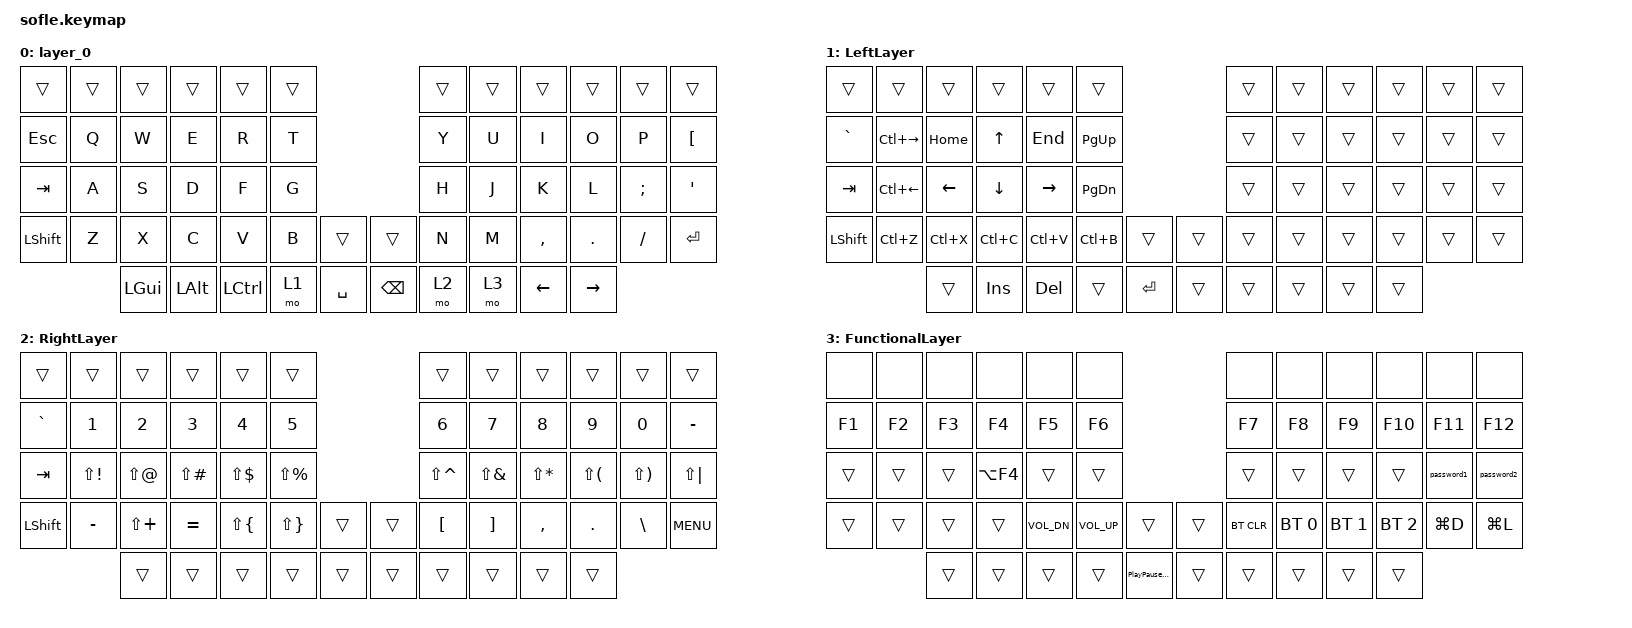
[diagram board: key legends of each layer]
/*
 * Copyright (c) 2020 The ZMK Contributors
 *
 * SPDX-License-Identifier: MIT
 */

#include <behaviors.dtsi>
#include <dt-bindings/zmk/bt.h>
#include <dt-bindings/zmk/keys.h>
#include <dt-bindings/zmk/keys.h>

/ {
    macros {
        password1: password1 {
            compatible = "zmk,behavior-macro";
            #binding-cells = <0>;
            bindings = <&none &kp LS(E) &kp X &kp I &kp L &kp E &kp N1 &kp N2 &kp N3>;
            label = "PASSWORD1";
        };

        password2: password2 {
            compatible = "zmk,behavior-macro";
            #binding-cells = <0>;
            bindings = <&none &kp LS(E) &kp X &kp I &kp L &kp E &kp N1 &kp N2 &kp N3 &kp N4>;
            label = "PASSWORD2";
        };

        PlayPauseYandex: PlayPauseYandex {
            compatible = "zmk,behavior-macro";
            #binding-cells = <0>;
            bindings = <&kt LCTRL &kt LEFT_SHIFT &kp SPACE &kt LEFT_CONTROL &kt LEFT_SHIFT>;
            label = "PLAYPAUSEYANDEX";
        };
    };

    keymap {
        compatible = "zmk,keymap";

        layer_0 {
            bindings = <
&trans     &trans  &trans    &trans    &trans            &trans                         &trans  &trans  &trans     &trans     &trans    &trans
&kp ESC    &kp Q   &kp W     &kp E     &kp R             &kp T                          &kp Y   &kp U   &kp I      &kp O      &kp P     &kp LBKT
&kp TAB    &kp A   &kp S     &kp D     &kp F             &kp G                          &kp H   &kp J   &kp K      &kp L      &kp SEMI  &kp SQT
&kp LSHFT  &kp Z   &kp X     &kp C     &kp V             &kp B   &trans       &trans    &kp N   &kp M   &kp COMMA  &kp DOT    &kp FSLH  &kp RET
                   &kp LGUI  &kp LALT  &kp LEFT_CONTROL  &mo 1   &kp SPACE    &kp BSPC  &mo 2   &mo 3   &kp LEFT   &kp RIGHT
            >;
        };

        LeftLayer {
            bindings = <
&trans     &trans         &trans     &trans     &trans     &trans                        &trans  &trans  &trans  &trans  &trans  &trans
&kp GRAVE  &kp LC(RIGHT)  &kp HOME   &kp UP     &kp END    &kp PG_UP                     &trans  &trans  &trans  &trans  &trans  &trans
&kp TAB    &kp LC(LEFT)   &kp LEFT   &kp DOWN   &kp RIGHT  &kp PG_DN                     &trans  &trans  &trans  &trans  &trans  &trans
&kp LSHFT  &kp LC(Z)      &kp LC(X)  &kp LC(C)  &kp LC(V)  &kp LC(B)  &trans     &trans  &trans  &trans  &trans  &trans  &trans  &trans
                          &trans     &kp INS    &kp DEL    &trans     &kp RET    &trans  &trans  &trans  &trans  &trans
            >;
        };

        RightLayer {
            bindings = <
&trans     &trans        &trans        &trans         &trans        &trans                           &trans         &trans        &trans        &trans        &trans        &trans
&kp GRAVE  &kp N1        &kp N2        &kp N3         &kp N4        &kp N5                           &kp N6         &kp N7        &kp N8        &kp N9        &kp N0        &kp MINUS
&kp TAB    &kp LS(EXCL)  &kp LS(AT)    &kp LS(POUND)  &kp LS(DLLR)  &kp LS(PRCNT)                    &kp LS(CARET)  &kp LS(AMPS)  &kp LS(STAR)  &kp LS(LPAR)  &kp LS(RPAR)  &kp LS(PIPE)
&kp LSHFT  &kp MINUS     &kp LS(PLUS)  &kp EQUAL      &kp LS(LBRC)  &kp LS(RBRC)   &trans    &trans  &kp LBKT       &kp RBKT      &kp COMMA     &kp DOT       &kp BSLH      &kp K_MENU
                         &trans        &trans         &trans        &trans         &trans    &trans  &trans         &trans        &trans        &trans
            >;
        };

        FunctionalLayer {
            bindings = <
&none   &none   &none   &none       &none         &none                                        &none       &none         &none         &none         &none       &none
&kp F1  &kp F2  &kp F3  &kp F4      &kp F5        &kp F6                                       &kp F7      &kp F8        &kp F9        &kp F10       &kp F11     &kp F12
&trans  &trans  &trans  &kp LA(F4)  &trans        &trans                                       &trans      &trans        &trans        &trans        &password1  &password2
&trans  &trans  &trans  &trans      &kp C_VOL_DN  &kp C_VOLUME_UP  &trans              &trans  &bt BT_CLR  &bt BT_SEL 0  &bt BT_SEL 1  &bt BT_SEL 2  &kp LG(D)   &kp LG(L)
                &trans  &trans      &trans        &trans           &PlayPauseYandex    &trans  &trans      &trans        &trans        &trans
            >;
        };
    };
};
